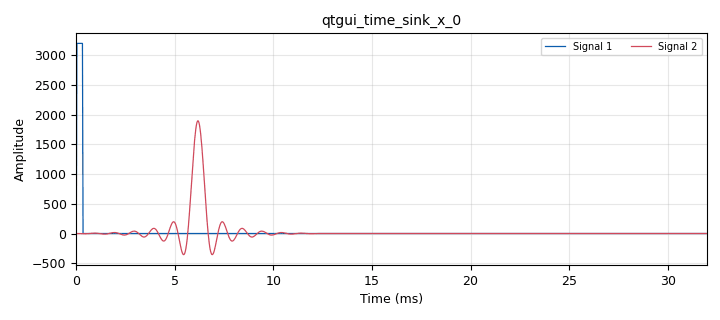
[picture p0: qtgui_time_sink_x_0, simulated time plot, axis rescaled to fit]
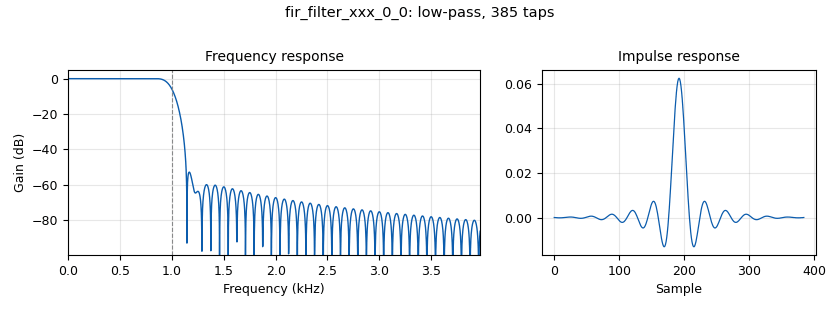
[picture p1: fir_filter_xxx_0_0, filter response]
options:
  parameters:
    author: Philippe PUJAS
    generate_options: qt_gui
    id: rep_impulsion
    output_language: python
    title: Réponse Impulsionnelle R205
  states: {}

blocks:
- name: largeur_pas
  id: variable
  parameters:
    value: '10'
  states: {}
- name: params_filtre
  id: variable_low_pass_filter_taps
  parameters:
    cutoff_freq: '1000'
    gain: '1.0'
    samp_rate: samp_rate
    width: '200'
    win: window.WIN_HAMMING
  states: {}
- name: samp_rate
  id: variable
  parameters:
    value: '32000'
  states: {}
- name: analog_sig_source_x_0
  id: analog_sig_source_x
  parameters:
    amp: '1'
    freq: '1'
    offset: '0'
    phase: '0'
    samp_rate: samp_rate
    type: float
    waveform: analog.GR_SQR_WAVE
  states: {}
- name: analog_sig_source_x_0_0
  id: analog_sig_source_x
  parameters:
    amp: '1'
    freq: '1'
    offset: '0'
    phase: '0'
    samp_rate: samp_rate
    type: float
    waveform: analog.GR_SQR_WAVE
  states: {}
- name: blocks_delay_0
  id: blocks_delay
  parameters:
    delay: largeur_pas
    type: float
  states: {}
- name: blocks_multiply_const_vxx_0
  id: blocks_multiply_const_vxx
  parameters:
    const: samp_rate/largeur_pas
    type: float
  states: {}
- name: blocks_sub_xx_0
  id: blocks_sub_xx
  parameters:
    type: float
  states: {}
- name: blocks_throttle_0
  id: blocks_throttle
  parameters:
    samples_per_second: samp_rate
    type: float
  states: {}
- name: fir_filter_xxx_0_0
  id: fir_filter_xxx
  parameters:
    decim: '1'
    taps: params_filtre
    type: fff
  states: {}
- name: qtgui_time_sink_x_0
  id: qtgui_time_sink_x
  parameters:
    ctrlpanel: 'True'
    nconnections: '2'
    size: '1024'
    srate: samp_rate
    tr_mode: qtgui.TRIG_MODE_AUTO
    type: float
  states: {}

connections:
- [analog_sig_source_x_0, '0', blocks_sub_xx_0, '0']
- [analog_sig_source_x_0_0, '0', blocks_delay_0, '0']
- [blocks_delay_0, '0', blocks_sub_xx_0, '1']
- [blocks_multiply_const_vxx_0, '0', blocks_throttle_0, '0']
- [blocks_multiply_const_vxx_0, '0', fir_filter_xxx_0_0, '0']
- [blocks_sub_xx_0, '0', blocks_multiply_const_vxx_0, '0']
- [blocks_throttle_0, '0', qtgui_time_sink_x_0, '0']
- [fir_filter_xxx_0_0, '0', qtgui_time_sink_x_0, '1']

metadata:
  file_format: 1
  grc_version: 3.10.4.0
